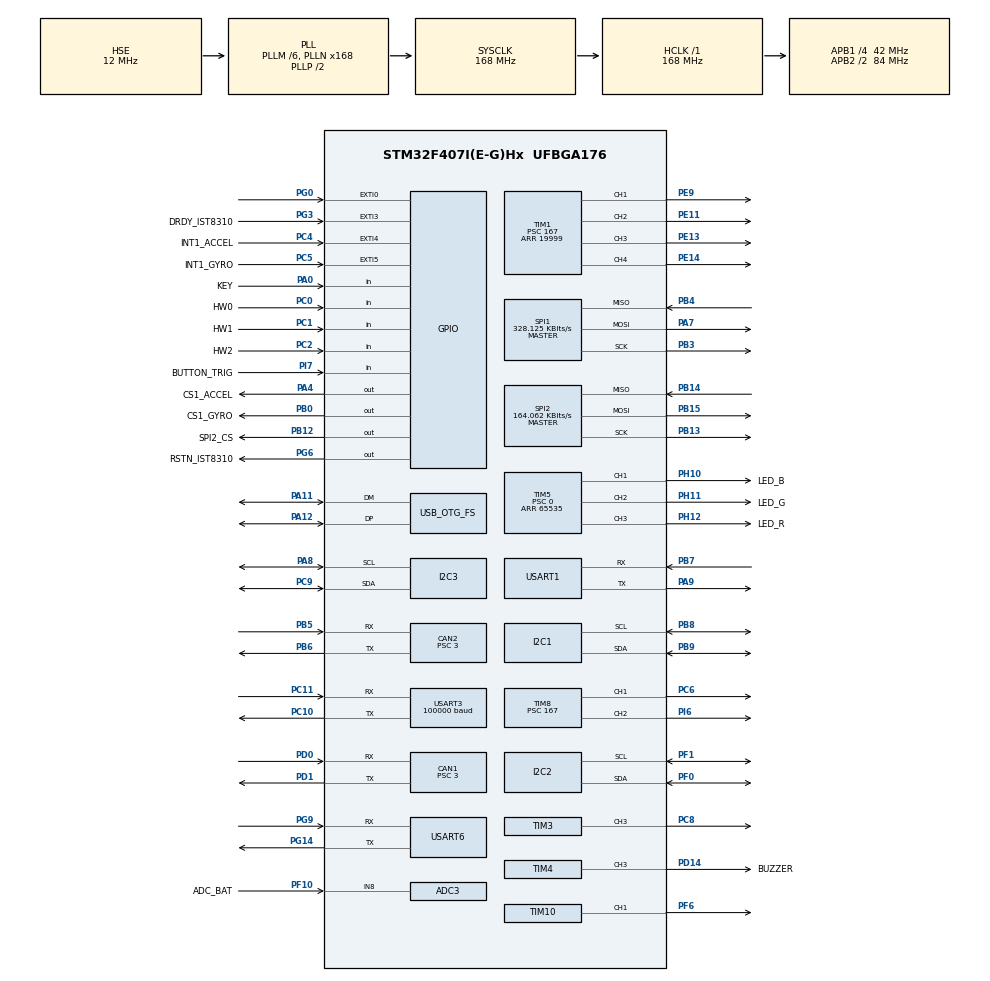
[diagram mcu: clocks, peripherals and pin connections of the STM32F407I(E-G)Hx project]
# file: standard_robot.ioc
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ADC1.Channel-0\#ChannelRegularConversion=ADC_CHANNEL_TEMPSENSOR
ADC1.ClockPrescaler=ADC_CLOCK_SYNC_PCLK_DIV6
ADC1.NbrOfConversionFlag=1
ADC1.Rank-0\#ChannelRegularConversion=1
ADC1.SamplingTime-0\#ChannelRegularConversion=ADC_SAMPLETIME_3CYCLES
ADC1.master=1
ADC3.Channel-0\#ChannelRegularConversion=ADC_CHANNEL_8
ADC3.ClockPrescaler=ADC_CLOCK_SYNC_PCLK_DIV6
ADC3.NbrOfConversionFlag=1
ADC3.Rank-0\#ChannelRegularConversion=1
ADC3.SamplingTime-0\#ChannelRegularConversion=ADC_SAMPLETIME_3CYCLES
CAN1.BS1=CAN_BS1_10TQ
CAN1.BS2=CAN_BS2_3TQ
CAN1.CalculateTimeQuantum=71.42857142857143
CAN1.Prescaler=3
CAN2.BS1=CAN_BS1_10TQ
CAN2.BS2=CAN_BS2_3TQ
CAN2.CalculateTimeQuantum=71.42857142857143
CAN2.Prescaler=3
Dma.I2C2_TX.2.Direction=DMA_MEMORY_TO_PERIPH
Dma.I2C2_TX.2.FIFOMode=DMA_FIFOMODE_DISABLE
Dma.I2C2_TX.2.Instance=DMA1_Stream7
Dma.I2C2_TX.2.MemDataAlignment=DMA_MDATAALIGN_BYTE
Dma.I2C2_TX.2.MemInc=DMA_MINC_ENABLE
Dma.I2C2_TX.2.Mode=DMA_NORMAL
Dma.I2C2_TX.2.PeriphDataAlignment=DMA_PDATAALIGN_BYTE
Dma.I2C2_TX.2.PeriphInc=DMA_PINC_DISABLE
Dma.I2C2_TX.2.Priority=DMA_PRIORITY_HIGH
Dma.Request0=SPI1_RX
Dma.Request1=SPI1_TX
Dma.Request2=I2C2_TX
Dma.Request3=USART3_RX
Dma.Request4=USART6_RX
Dma.Request5=USART6_TX
Dma.Request6=USART1_TX
Dma.SPI1_RX.0.Direction=DMA_PERIPH_TO_MEMORY
Dma.SPI1_RX.0.FIFOMode=DMA_FIFOMODE_DISABLE
Dma.SPI1_RX.0.Instance=DMA2_Stream2
Dma.SPI1_RX.0.MemDataAlignment=DMA_MDATAALIGN_BYTE
Dma.SPI1_RX.0.MemInc=DMA_MINC_ENABLE
Dma.SPI1_RX.0.Mode=DMA_NORMAL
Dma.SPI1_RX.0.PeriphDataAlignment=DMA_PDATAALIGN_BYTE
Dma.SPI1_RX.0.PeriphInc=DMA_PINC_DISABLE
Dma.SPI1_RX.0.Priority=DMA_PRIORITY_VERY_HIGH
Dma.SPI1_TX.1.Direction=DMA_MEMORY_TO_PERIPH
Dma.SPI1_TX.1.FIFOMode=DMA_FIFOMODE_DISABLE
Dma.SPI1_TX.1.Instance=DMA2_Stream3
Dma.SPI1_TX.1.MemDataAlignment=DMA_MDATAALIGN_BYTE
Dma.SPI1_TX.1.MemInc=DMA_MINC_ENABLE
Dma.SPI1_TX.1.Mode=DMA_NORMAL
Dma.SPI1_TX.1.PeriphDataAlignment=DMA_PDATAALIGN_BYTE
Dma.SPI1_TX.1.PeriphInc=DMA_PINC_DISABLE
Dma.SPI1_TX.1.Priority=DMA_PRIORITY_HIGH
Dma.USART1_TX.6.Direction=DMA_MEMORY_TO_PERIPH
Dma.USART1_TX.6.FIFOMode=DMA_FIFOMODE_DISABLE
Dma.USART1_TX.6.Instance=DMA2_Stream7
Dma.USART1_TX.6.MemDataAlignment=DMA_MDATAALIGN_BYTE
Dma.USART1_TX.6.MemInc=DMA_MINC_ENABLE
Dma.USART1_TX.6.Mode=DMA_NORMAL
Dma.USART1_TX.6.PeriphDataAlignment=DMA_PDATAALIGN_BYTE
Dma.USART1_TX.6.PeriphInc=DMA_PINC_DISABLE
Dma.USART1_TX.6.Priority=DMA_PRIORITY_MEDIUM
Dma.USART3_RX.3.Direction=DMA_PERIPH_TO_MEMORY
Dma.USART3_RX.3.FIFOMode=DMA_FIFOMODE_DISABLE
Dma.USART3_RX.3.Instance=DMA1_Stream1
Dma.USART3_RX.3.MemDataAlignment=DMA_MDATAALIGN_BYTE
Dma.USART3_RX.3.MemInc=DMA_MINC_ENABLE
Dma.USART3_RX.3.Mode=DMA_NORMAL
Dma.USART3_RX.3.PeriphDataAlignment=DMA_PDATAALIGN_BYTE
Dma.USART3_RX.3.PeriphInc=DMA_PINC_DISABLE
Dma.USART3_RX.3.Priority=DMA_PRIORITY_HIGH
Dma.USART6_RX.4.Direction=DMA_PERIPH_TO_MEMORY
Dma.USART6_RX.4.FIFOMode=DMA_FIFOMODE_DISABLE
Dma.USART6_RX.4.Instance=DMA2_Stream1
Dma.USART6_RX.4.MemDataAlignment=DMA_MDATAALIGN_BYTE
Dma.USART6_RX.4.MemInc=DMA_MINC_ENABLE
Dma.USART6_RX.4.Mode=DMA_NORMAL
Dma.USART6_RX.4.PeriphDataAlignment=DMA_PDATAALIGN_BYTE
Dma.USART6_RX.4.PeriphInc=DMA_PINC_DISABLE
Dma.USART6_RX.4.Priority=DMA_PRIORITY_HIGH
Dma.USART6_TX.5.Direction=DMA_MEMORY_TO_PERIPH
Dma.USART6_TX.5.FIFOMode=DMA_FIFOMODE_DISABLE
Dma.USART6_TX.5.Instance=DMA2_Stream6
Dma.USART6_TX.5.MemDataAlignment=DMA_MDATAALIGN_BYTE
Dma.USART6_TX.5.MemInc=DMA_MINC_ENABLE
Dma.USART6_TX.5.Mode=DMA_NORMAL
Dma.USART6_TX.5.PeriphDataAlignment=DMA_PDATAALIGN_BYTE
Dma.USART6_TX.5.PeriphInc=DMA_PINC_DISABLE
Dma.USART6_TX.5.Priority=DMA_PRIORITY_MEDIUM
FREERTOS.INCLUDE_eTaskGetState=1
FREERTOS.INCLUDE_pcTaskGetTaskName=1
FREERTOS.INCLUDE_uxTaskGetStackHighWaterMark=1
FREERTOS.INCLUDE_vTaskCleanUpResources=1
FREERTOS.INCLUDE_vTaskDelayUntil=1
FREERTOS.INCLUDE_xEventGroupSetBitFromISR=1
FREERTOS.INCLUDE_xQueueGetMutexHolder=1
FREERTOS.INCLUDE_xSemaphoreGetMutexHolder=1
FREERTOS.INCLUDE_xTaskAbortDelay=1
FREERTOS.INCLUDE_xTaskGetCurrentTaskHandle=1
FREERTOS.INCLUDE_xTaskGetHandle=1
FREERTOS.INCLUDE_xTimerPendFunctionCall=1
FREERTOS.Tasks01=test,24,128,test_task,As weak,NULL,Dynamic,NULL,NULL
FREERTOS.configTOTAL_HEAP_SIZE=24576
I2C1.I2C_Mode=I2C_Fast
I2C2.I2C_Mode=I2C_Fast
I2C3.I2C_Mode=I2C_Fast
Mcu.Family=STM32F4
Mcu.Name=STM32F407I(E-G)Hx
Mcu.Package=UFBGA176
NVIC.CAN1_RX0_IRQn=true\:6\:0\:true\:false\:true\:true\:true\:true
NVIC.CAN2_RX0_IRQn=true\:6\:0\:true\:false\:true\:true\:true\:true
NVIC.DMA1_Stream1_IRQn=true\:5\:0\:true\:false\:false\:true\:false\:false
NVIC.DMA1_Stream7_IRQn=true\:5\:0\:true\:false\:false\:true\:false\:true
NVIC.DMA2_Stream1_IRQn=true\:5\:0\:true\:false\:true\:true\:false\:true
NVIC.DMA2_Stream2_IRQn=true\:5\:0\:true\:false\:false\:true\:false\:true
NVIC.DMA2_Stream3_IRQn=true\:5\:0\:true\:false\:false\:true\:false\:true
NVIC.DMA2_Stream6_IRQn=true\:5\:0\:true\:false\:true\:true\:false\:true
NVIC.DMA2_Stream7_IRQn=true\:5\:0\:true\:false\:true\:true\:false\:true
NVIC.EXTI0_IRQn=true\:6\:0\:true\:false\:true\:true\:true\:true
NVIC.EXTI3_IRQn=true\:5\:0\:true\:false\:true\:true\:true\:true
NVIC.EXTI4_IRQn=true\:5\:0\:true\:false\:true\:true\:true\:true
NVIC.EXTI9_5_IRQn=true\:5\:0\:true\:false\:true\:true\:true\:true
NVIC.OTG_FS_IRQn=true\:5\:0\:false\:false\:true\:true\:false\:true
NVIC.PriorityGroup=NVIC_PRIORITYGROUP_4
NVIC.USART3_IRQn=true\:4\:0\:true\:false\:false\:false\:true\:true
NVIC.USART6_IRQn=true\:5\:0\:true\:false\:false\:true\:true\:true
PA0-WKUP.GPIO_Label=KEY
PA0-WKUP.GPIO_PuPd=GPIO_PULLUP
PA0-WKUP.Signal=GPIO_Input
PA11.Mode=Device_Only
PA11.Signal=USB_OTG_FS_DM
PA12.Mode=Device_Only
PA12.Signal=USB_OTG_FS_DP
PA13.Mode=Serial_Wire
PA13.Signal=SYS_JTMS-SWDIO
PA14.Mode=Serial_Wire
PA14.Signal=SYS_JTCK-SWCLK
PA4.GPIO_Label=CS1_ACCEL
PA4.GPIO_PuPd=GPIO_PULLUP
PA4.GPIO_Speed=GPIO_SPEED_FREQ_HIGH
PA4.PinState=GPIO_PIN_SET
PA4.Signal=GPIO_Output
PA7.GPIO_PuPd=GPIO_PULLUP
PA7.Mode=Full_Duplex_Master
PA7.Signal=SPI1_MOSI
PA8.Mode=I2C
PA8.Signal=I2C3_SCL
PA9.Mode=Asynchronous
PA9.Signal=USART1_TX
PB0.GPIO_Label=CS1_GYRO
PB0.GPIO_PuPd=GPIO_PULLUP
PB0.GPIO_Speed=GPIO_SPEED_FREQ_HIGH
PB0.PinState=GPIO_PIN_SET
PB0.Signal=GPIO_Output
PB12.GPIO_Label=SPI2_CS
PB12.GPIO_PuPd=GPIO_PULLUP
PB12.GPIO_Speed=GPIO_SPEED_FREQ_MEDIUM
PB12.PinState=GPIO_PIN_SET
PB12.Signal=GPIO_Output
PB13.GPIO_PuPd=GPIO_PULLUP
PB13.Mode=Full_Duplex_Master
PB13.Signal=SPI2_SCK
PB14.GPIO_PuPd=GPIO_PULLUP
PB14.Mode=Full_Duplex_Master
PB14.Signal=SPI2_MISO
PB15.GPIO_PuPd=GPIO_PULLUP
PB15.Mode=Full_Duplex_Master
PB15.Signal=SPI2_MOSI
PB3.GPIO_PuPd=GPIO_PULLUP
PB3.Mode=Full_Duplex_Master
PB3.Signal=SPI1_SCK
PB4.GPIO_PuPd=GPIO_PULLUP
PB4.Mode=Full_Duplex_Master
PB4.Signal=SPI1_MISO
PB5.Mode=Slave
PB5.Signal=CAN2_RX
PB6.Mode=Slave
PB6.Signal=CAN2_TX
PB7.Mode=Asynchronous
PB7.Signal=USART1_RX
PB8.Mode=I2C
PB8.Signal=I2C1_SCL
PB9.Mode=I2C
PB9.Signal=I2C1_SDA
PC0.GPIO_Label=HW0
PC0.Signal=GPIO_Input
PC1.GPIO_Label=HW1
PC1.Signal=GPIO_Input
PC10.Mode=Asynchronous
PC10.Signal=USART3_TX
PC11.Mode=Asynchronous
PC11.Signal=USART3_RX
PC2.GPIO_Label=HW2
PC2.Signal=GPIO_Input
PC4.GPIO_Label=INT1_ACCEL
PC4.GPIO_ModeDefaultEXTI=GPIO_MODE_IT_FALLING
PC4.GPIO_PuPd=GPIO_PULLUP
PC4.Signal=GPXTI4
PC5.GPIO_Label=INT1_GYRO
PC5.GPIO_ModeDefaultEXTI=GPIO_MODE_IT_FALLING
PC5.GPIO_PuPd=GPIO_PULLUP
PC5.Signal=GPXTI5
PC6.GPIO_PuPd=GPIO_PULLUP
PC6.GPIO_Speed=GPIO_SPEED_FREQ_HIGH
PC6.Signal=S_TIM8_CH1
PC8.GPIO_PuPd=GPIO_PULLUP
PC8.GPIO_Speed=GPIO_SPEED_FREQ_HIGH
PC8.Signal=S_TIM3_CH3
PC9.Mode=I2C
PC9.Signal=I2C3_SDA
PD0.Mode=Master
PD0.Signal=CAN1_RX
PD1.Mode=Master
PD1.Signal=CAN1_TX
PD14.GPIO_Label=BUZZER
PD14.GPIO_PuPd=GPIO_PULLUP
PD14.GPIO_Speed=GPIO_SPEED_FREQ_VERY_HIGH
PD14.Signal=S_TIM4_CH3
PE11.GPIO_PuPd=GPIO_PULLUP
PE11.GPIO_Speed=GPIO_SPEED_FREQ_HIGH
PE11.Signal=S_TIM1_CH2
PE13.GPIO_PuPd=GPIO_PULLUP
PE13.GPIO_Speed=GPIO_SPEED_FREQ_HIGH
PE13.Signal=S_TIM1_CH3
PE14.GPIO_PuPd=GPIO_PULLUP
PE14.GPIO_Speed=GPIO_SPEED_FREQ_HIGH
PE14.Signal=S_TIM1_CH4
PE9.GPIO_PuPd=GPIO_PULLUP
PE9.GPIO_Speed=GPIO_SPEED_FREQ_HIGH
PE9.Signal=S_TIM1_CH1
PF0.Mode=I2C
PF0.Signal=I2C2_SDA
PF1.Mode=I2C
PF1.Signal=I2C2_SCL
PF10.GPIO_Label=ADC_BAT
PF10.Mode=IN8
PF10.Signal=ADC3_IN8
PF6.GPIO_PuPd=GPIO_PULLUP
PF6.GPIO_Speed=GPIO_SPEED_FREQ_HIGH
PF6.Signal=S_TIM10_CH1
PG0.GPIO_ModeDefaultEXTI=GPIO_MODE_IT_FALLING
PG0.GPIO_PuPd=GPIO_PULLUP
PG0.Signal=GPXTI0
PG14.Mode=Asynchronous
PG14.Signal=USART6_TX
PG3.GPIO_Label=DRDY_IST8310
PG3.GPIO_ModeDefaultEXTI=GPIO_MODE_IT_FALLING
PG3.GPIO_PuPd=GPIO_PULLUP
PG3.Signal=GPXTI3
PG6.GPIO_Label=RSTN_IST8310
PG6.GPIO_PuPd=GPIO_PULLUP
PG6.GPIO_Speed=GPIO_SPEED_FREQ_MEDIUM
PG6.PinState=GPIO_PIN_SET
PG6.Signal=GPIO_Output
PG9.Mode=Asynchronous
PG9.Signal=USART6_RX
PH0-OSC_IN.Mode=HSE-External-Oscillator
PH0-OSC_IN.Signal=RCC_OSC_IN
PH1-OSC_OUT.Mode=HSE-External-Oscillator
PH1-OSC_OUT.Signal=RCC_OSC_OUT
PH10.GPIO_Label=LED_B
PH10.GPIO_PuPd=GPIO_PULLUP
PH10.GPIO_Speed=GPIO_SPEED_FREQ_HIGH
PH10.Signal=S_TIM5_CH1
PH11.GPIO_Label=LED_G
PH11.GPIO_PuPd=GPIO_PULLUP
PH11.GPIO_Speed=GPIO_SPEED_FREQ_HIGH
PH11.Signal=S_TIM5_CH2
PH12.GPIO_Label=LED_R
PH12.GPIO_PuPd=GPIO_PULLUP
PH12.GPIO_Speed=GPIO_SPEED_FREQ_HIGH
PH12.Signal=S_TIM5_CH3
PI6.GPIO_PuPd=GPIO_PULLUP
PI6.GPIO_Speed=GPIO_SPEED_FREQ_HIGH
PI6.Signal=S_TIM8_CH2
PI7.GPIO_Label=BUTTON_TRIG
PI7.GPIO_PuPd=GPIO_PULLUP
PI7.Signal=GPIO_Input
ProjectManager.HeapSize=0x2000
ProjectManager.StackSize=0x2000
ProjectManager.TargetToolchain=MDK-ARM V5
RCC.48MHZClocksFreq_Value=48000000
RCC.AHBFreq_Value=168000000
RCC.APB1CLKDivider=RCC_HCLK_DIV4
RCC.APB1Freq_Value=42000000
RCC.APB1TimFreq_Value=84000000
RCC.APB2CLKDivider=RCC_HCLK_DIV2
RCC.APB2Freq_Value=84000000
RCC.APB2TimFreq_Value=168000000
RCC.CortexFreq_Value=168000000
RCC.HCLKFreq_Value=168000000
RCC.HSE_VALUE=12000000
RCC.HSI_VALUE=16000000
RCC.LSE_VALUE=32768
RCC.PLLM=6
RCC.PLLN=168
RCC.PLLQ=7
RCC.RCC_RTC_Clock_SourceVirtual=RCC_RTCCLKSOURCE_HSE_DIV30
RCC.RCC_RTC_Clock_Source_FROM_HSE=RCC_RTCCLKSOURCE_HSE_DIV30
RCC.SYSCLKFreq_VALUE=168000000
RCC.SYSCLKSource=RCC_SYSCLKSOURCE_PLLCLK
RCC.VCOOutputFreq_Value=336000000
RTC.AsynchPrediv=124
RTC.SynchPrediv=3199
SH.S_TIM10_CH1.0=TIM10_CH1,PWM Generation1 CH1
SH.S_TIM1_CH1.0=TIM1_CH1,PWM Generation1 CH1
SH.S_TIM1_CH2.0=TIM1_CH2,PWM Generation2 CH2
SH.S_TIM1_CH3.0=TIM1_CH3,PWM Generation3 CH3
SH.S_TIM1_CH4.0=TIM1_CH4,PWM Generation4 CH4
SH.S_TIM3_CH3.0=TIM3_CH3,PWM Generation3 CH3
SH.S_TIM4_CH3.0=TIM4_CH3,PWM Generation3 CH3
SH.S_TIM5_CH1.0=TIM5_CH1,PWM Generation1 CH1
SH.S_TIM5_CH2.0=TIM5_CH2,PWM Generation2 CH2
SH.S_TIM5_CH3.0=TIM5_CH3,PWM Generation3 CH3
SH.S_TIM8_CH1.0=TIM8_CH1,PWM Generation1 CH1
SH.S_TIM8_CH2.0=TIM8_CH2,PWM Generation2 CH2
SPI1.BaudRatePrescaler=SPI_BAUDRATEPRESCALER_256
SPI1.CLKPhase=SPI_PHASE_2EDGE
SPI1.CLKPolarity=SPI_POLARITY_HIGH
SPI1.CalculateBaudRate=328.125 KBits/s
SPI1.Direction=SPI_DIRECTION_2LINES
SPI1.Mode=SPI_MODE_MASTER
SPI1.VirtualType=VM_MASTER
SPI2.BaudRatePrescaler=SPI_BAUDRATEPRESCALER_256
SPI2.CLKPhase=SPI_PHASE_2EDGE
SPI2.CLKPolarity=SPI_POLARITY_HIGH
SPI2.CalculateBaudRate=164.062 KBits/s
SPI2.Direction=SPI_DIRECTION_2LINES
SPI2.Mode=SPI_MODE_MASTER
SPI2.VirtualType=VM_MASTER
TIM1.Channel-PWM\ Generation1\ CH1=TIM_CHANNEL_1
TIM1.Channel-PWM\ Generation2\ CH2=TIM_CHANNEL_2
TIM1.Channel-PWM\ Generation3\ CH3=TIM_CHANNEL_3
TIM1.Channel-PWM\ Generation4\ CH4=TIM_CHANNEL_4
TIM1.Period=19999
TIM1.Prescaler=167
TIM1.Pulse-PWM\ Generation1\ CH1=1000
TIM1.Pulse-PWM\ Generation2\ CH2=1000
TIM1.Pulse-PWM\ Generation3\ CH3=1000
TIM1.Pulse-PWM\ Generation4\ CH4=1000
TIM10.Channel=TIM_CHANNEL_1
TIM10.Period=4999
TIM3.Channel-PWM\ Generation3\ CH3=TIM_CHANNEL_3
TIM3.Period=8399
TIM4.Channel-PWM\ Generation3\ CH3=TIM_CHANNEL_3
TIM4.Period=65535
TIM4.Prescaler=167
TIM5.Channel-PWM\ Generation1\ CH1=TIM_CHANNEL_1
TIM5.Channel-PWM\ Generation2\ CH2=TIM_CHANNEL_2
TIM5.Channel-PWM\ Generation3\ CH3=TIM_CHANNEL_3
TIM5.Period=65535
TIM5.Prescaler=0
TIM8.Channel-PWM\ Generation1\ CH1=TIM_CHANNEL_1
TIM8.Channel-PWM\ Generation2\ CH2=TIM_CHANNEL_2
TIM8.Period=19999
TIM8.Prescaler=167
TIM8.Pulse-PWM\ Generation1\ CH1=1000
TIM8.Pulse-PWM\ Generation2\ CH2=1000
USART1.VirtualMode=VM_ASYNC
USART3.BaudRate=100000
USART3.Parity=PARITY_EVEN
USART3.VirtualMode=VM_ASYNC
USART6.VirtualMode=VM_ASYNC
USB_DEVICE.CLASS_NAME_FS=CDC
USB_DEVICE.VirtualMode-CDC_FS=Cdc
USB_DEVICE.VirtualModeFS=Cdc_FS
USB_OTG_FS.VirtualMode=Device_Only
VP_ADC1_TempSens_Input.Mode=IN-TempSens
VP_ADC1_Vref_Input.Mode=IN-Vrefint
VP_CRC_VS_CRC.Mode=CRC_Activate
VP_FREERTOS_VS_CMSIS_V1.Mode=CMSIS_V1
VP_RNG_VS_RNG.Mode=RNG_Activate
VP_RTC_VS_RTC_Activate.Mode=RTC_Enabled
VP_TIM10_VS_ClockSourceINT.Mode=Enable_Timer
VP_TIM1_VS_ClockSourceINT.Mode=Internal
VP_TIM3_VS_ClockSourceINT.Mode=Internal
VP_TIM4_VS_ClockSourceINT.Mode=Internal
VP_TIM5_VS_ClockSourceINT.Mode=Internal
VP_TIM8_VS_ClockSourceINT.Mode=Internal
VP_USB_DEVICE_VS_USB_DEVICE_CDC_FS.Mode=CDC_FS
board=custom

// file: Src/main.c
/* USER CODE BEGIN Header */
/**
  ******************************************************************************
  * @file           : main.c
  * @brief          : Main program body
  ******************************************************************************
  * @attention
  *
  * <h2><center>&copy; Copyright (c) 2019 STMicroelectronics.
  * All rights reserved.</center></h2>
  *
  * This software component is licensed by ST under Ultimate Liberty license
  * SLA0044, the "License"; You may not use this file except in compliance with
  * the License. You may obtain a copy of the License at:
  *                             www.st.com/SLA0044
  *
  ******************************************************************************
  */
/* USER CODE END Header */

#include "main.h"
#include "cmsis_os.h"
#include "adc.h"
#include "can.h"
#include "crc.h"
#include "dma.h"
#include "i2c.h"
#include "rng.h"
#include "rtc.h"
#include "spi.h"
#include "tim.h"
#include "usart.h"
#include "usb_device.h"
#include "gpio.h"

/* USER CODE BEGIN Includes */
#include "bsp_can.h"
#include "bsp_delay.h"
#include "bsp_usart.h"
#include "remote_control.h"
#include <stdarg.h>
#include "stdio.h"
#include "calibrate_task.h"
#include "chassis_task.h"
#include "detect_task.h"
#include "gimbal_task.h"
#include "INS_task.h"
#include "led_flow_task.h"
#include "oled_task.h"
#include "referee_usart_task.h"
#include "usb_task.h"
#include "voltage_task.h"
/* USER CODE END Includes */

void SystemClock_Config(void);
void MX_FREERTOS_Init(void);

/* USER CODE BEGIN 0 */
//void usart_printf(const char *fmt,...)
//{
//    static uint8_t tx_buf[256] = {0};
//    static va_list ap;
//    static uint16_t len;
//    va_start(ap, fmt);

//    //return length of string
//    //返回字符串长度
//    len = vsprintf((char *)tx_buf, fmt, ap);

//    va_end(ap);

//    usart1_tx_dma_enable(tx_buf, len);

//}

/* USER CODE END 0 */

int main(void)
{

  /* MCU Configuration--------------------------------------------------------*/

  /* Reset of all peripherals, Initializes the Flash interface and the Systick. */
  HAL_Init();

  /* Configure the system clock */
  SystemClock_Config();

  /* Initialize all configured peripherals */
  MX_GPIO_Init();
  MX_DMA_Init();
  MX_ADC1_Init();
  MX_ADC3_Init();
  MX_CAN1_Init();
  MX_CAN2_Init();
  MX_I2C1_Init();
  MX_SPI1_Init();
  MX_TIM4_Init();
  MX_TIM5_Init();
  MX_USART3_UART_Init();
  MX_TIM8_Init();
  MX_CRC_Init();
  MX_RNG_Init();
  MX_I2C2_Init();
  MX_I2C3_Init();
  MX_RTC_Init();
  MX_SPI2_Init();
  MX_TIM1_Init();
  MX_TIM3_Init();
  MX_TIM10_Init();
  MX_USART1_UART_Init();
  MX_USART6_UART_Init();
  /* USER CODE BEGIN 2 */
    can_filter_init();
    delay_init();
    cali_param_init();
    remote_control_init();
    usart1_tx_dma_init();
  /* USER CODE END 2 */

  /* Call init function for freertos objects (in freertos.c) */
  MX_FREERTOS_Init();

  /* Start scheduler */
  osKernelStart();

  /* We should never get here as control is now taken by the scheduler */

  /* Infinite loop */
  while (1)
  {

  }
}

void SystemClock_Config(void)
{
  RCC_OscInitTypeDef RCC_OscInitStruct = {0};
  RCC_ClkInitTypeDef RCC_ClkInitStruct = {0};
  RCC_PeriphCLKInitTypeDef PeriphClkInitStruct = {0};

  /** Configure the main internal regulator output voltage
  */
  __HAL_RCC_PWR_CLK_ENABLE();
  __HAL_PWR_VOLTAGESCALING_CONFIG(PWR_REGULATOR_VOLTAGE_SCALE1);
  /** Initializes the CPU, AHB and APB busses clocks
  */
  RCC_OscInitStruct.OscillatorType = RCC_OSCILLATORTYPE_HSE;
  RCC_OscInitStruct.HSEState = RCC_HSE_ON;
  RCC_OscInitStruct.PLL.PLLState = RCC_PLL_ON;
  RCC_OscInitStruct.PLL.PLLSource = RCC_PLLSOURCE_HSE;
  RCC_OscInitStruct.PLL.PLLM = 6;
  RCC_OscInitStruct.PLL.PLLN = 168;
  RCC_OscInitStruct.PLL.PLLP = RCC_PLLP_DIV2;
  RCC_OscInitStruct.PLL.PLLQ = 7;
  if (HAL_RCC_OscConfig(&RCC_OscInitStruct) != HAL_OK)
  {
    Error_Handler();
  }
  /** Initializes the CPU, AHB and APB busses clocks
  */
  RCC_ClkInitStruct.ClockType = RCC_CLOCKTYPE_HCLK|RCC_CLOCKTYPE_SYSCLK
                              |RCC_CLOCKTYPE_PCLK1|RCC_CLOCKTYPE_PCLK2;
  RCC_ClkInitStruct.SYSCLKSource = RCC_SYSCLKSOURCE_PLLCLK;
  RCC_ClkInitStruct.AHBCLKDivider = RCC_SYSCLK_DIV1;
  RCC_ClkInitStruct.APB1CLKDivider = RCC_HCLK_DIV4;
  RCC_ClkInitStruct.APB2CLKDivider = RCC_HCLK_DIV2;

  if (HAL_RCC_ClockConfig(&RCC_ClkInitStruct, FLASH_LATENCY_5) != HAL_OK)
  {
    Error_Handler();
  }
  PeriphClkInitStruct.PeriphClockSelection = RCC_PERIPHCLK_RTC;
  PeriphClkInitStruct.RTCClockSelection = RCC_RTCCLKSOURCE_HSE_DIV30;
  if (HAL_RCCEx_PeriphCLKConfig(&PeriphClkInitStruct) != HAL_OK)
  {
    Error_Handler();
  }
}

void Error_Handler(void)
{
}

/************************ (C) COPYRIGHT STMicroelectronics *****END OF FILE****/

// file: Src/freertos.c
/* USER CODE BEGIN Header */
/**
  ******************************************************************************
  * File Name          : freertos.c
  * Description        : Code for freertos applications
  ******************************************************************************
  * @attention
  *
  * <h2><center>&copy; Copyright (c) 2019 STMicroelectronics.
  * All rights reserved.</center></h2>
  *
  * This software component is licensed by ST under Ultimate Liberty license
  * SLA0044, the "License"; You may not use this file except in compliance with
  * the License. You may obtain a copy of the License at:
  *                             www.st.com/SLA0044
  *
  ******************************************************************************
  */
/* USER CODE END Header */

#include "FreeRTOS.h"
#include "task.h"
#include "main.h"
#include "cmsis_os.h"

/* USER CODE BEGIN Includes */

#include "calibrate_task.h"
#include "chassis_task.h"
#include "detect_task.h"
#include "gimbal_task.h"
#include "INS_task.h"
#include "led_flow_task.h"
#include "oled_task.h"
#include "referee_usart_task.h"
#include "usb_task.h"
#include "voltage_task.h"
#include "servo_task.h"
/* USER CODE END Includes */

/* USER CODE BEGIN PTD */

osThreadId calibrate_tast_handle;
osThreadId chassisTaskHandle;
osThreadId detect_handle;
osThreadId gimbalTaskHandle;
osThreadId imuTaskHandle;
osThreadId led_RGB_flow_handle;
osThreadId oled_handle;
osThreadId referee_usart_task_handle;
osThreadId usb_task_handle;
osThreadId battery_voltage_handle;
osThreadId servo_task_handle;

/* USER CODE END PTD */

osThreadId testHandle;

void test_task(void const * argument);

extern void MX_USB_DEVICE_Init(void);
void MX_FREERTOS_Init(void); /* (MISRA C 2004 rule 8.1) */

/* GetIdleTaskMemory prototype (linked to static allocation support) */
void vApplicationGetIdleTaskMemory( StaticTask_t **ppxIdleTaskTCBBuffer, StackType_t **ppxIdleTaskStackBuffer, uint32_t *pulIdleTaskStackSize );

/* GetTimerTaskMemory prototype (linked to static allocation support) */
void vApplicationGetTimerTaskMemory( StaticTask_t **ppxTimerTaskTCBBuffer, StackType_t **ppxTimerTaskStackBuffer, uint32_t *pulTimerTaskStackSize );

/* USER CODE BEGIN GET_IDLE_TASK_MEMORY */
static StaticTask_t xIdleTaskTCBBuffer;
static StackType_t xIdleStack[configMINIMAL_STACK_SIZE];

void vApplicationGetIdleTaskMemory( StaticTask_t **ppxIdleTaskTCBBuffer, StackType_t **ppxIdleTaskStackBuffer, uint32_t *pulIdleTaskStackSize )
{
  *ppxIdleTaskTCBBuffer = &xIdleTaskTCBBuffer;
  *ppxIdleTaskStackBuffer = &xIdleStack[0];
  *pulIdleTaskStackSize = configMINIMAL_STACK_SIZE;
  /* place for user code */
}
/* USER CODE END GET_IDLE_TASK_MEMORY */

/* USER CODE BEGIN GET_TIMER_TASK_MEMORY */
static StaticTask_t xTimerTaskTCBBuffer;
static StackType_t xTimerStack[configTIMER_TASK_STACK_DEPTH];

void vApplicationGetTimerTaskMemory( StaticTask_t **ppxTimerTaskTCBBuffer, StackType_t **ppxTimerTaskStackBuffer, uint32_t *pulTimerTaskStackSize )
{
  *ppxTimerTaskTCBBuffer = &xTimerTaskTCBBuffer;
  *ppxTimerTaskStackBuffer = &xTimerStack[0];
  *pulTimerTaskStackSize = configTIMER_TASK_STACK_DEPTH;
  /* place for user code */
}
/* USER CODE END GET_TIMER_TASK_MEMORY */

void MX_FREERTOS_Init(void) {

  /* Create the thread(s) */
  /* definition and creation of test */
  osThreadDef(test, test_task, osPriorityNormal, 0, 128);
  testHandle = osThreadCreate(osThread(test), NULL);

  /* USER CODE BEGIN RTOS_THREADS */
  /* add threads, ... */
    osThreadDef(cali, calibrate_task, osPriorityNormal, 0, 512);
    calibrate_tast_handle = osThreadCreate(osThread(cali), NULL);

    osThreadDef(ChassisTask, chassis_task, osPriorityAboveNormal, 0, 512);
    chassisTaskHandle = osThreadCreate(osThread(ChassisTask), NULL);

//    osThreadDef(DETECT, detect_task, osPriorityNormal, 0, 256);
//    detect_handle = osThreadCreate(osThread(DETECT), NULL);

//    osThreadDef(gimbalTask, gimbal_task, osPriorityHigh, 0, 512);
//    gimbalTaskHandle = osThreadCreate(osThread(gimbalTask), NULL);

    osThreadDef(imuTask, INS_task, osPriorityRealtime, 0, 1024);
    imuTaskHandle = osThreadCreate(osThread(imuTask), NULL);

    osThreadDef(led, led_RGB_flow_task, osPriorityNormal, 0, 256);
    led_RGB_flow_handle = osThreadCreate(osThread(led), NULL);

    osThreadDef(OLED, oled_task, osPriorityLow, 0, 256);
    oled_handle = osThreadCreate(osThread(OLED), NULL);

//    osThreadDef(REFEREE, referee_usart_task, osPriorityNormal, 0, 128);
//    referee_usart_task_handle = osThreadCreate(osThread(REFEREE), NULL);

//    osThreadDef(USBTask, usb_task, osPriorityNormal, 0, 128);
//    usb_task_handle = osThreadCreate(osThread(USBTask), NULL);

    osThreadDef(BATTERY_VOLTAGE, battery_voltage_task, osPriorityNormal, 0, 128);
    battery_voltage_handle = osThreadCreate(osThread(BATTERY_VOLTAGE), NULL);

//    osThreadDef(SERVO, servo_task, osPriorityNormal, 0, 128);
//    servo_task_handle = osThreadCreate(osThread(SERVO), NULL);

  /* USER CODE END RTOS_THREADS */

}

__weak void test_task(void const * argument)
{
  /* init code for USB_DEVICE */
  MX_USB_DEVICE_Init();

  for(;;)
  {
    osDelay(1);
  }
}

/************************ (C) COPYRIGHT STMicroelectronics *****END OF FILE****/
